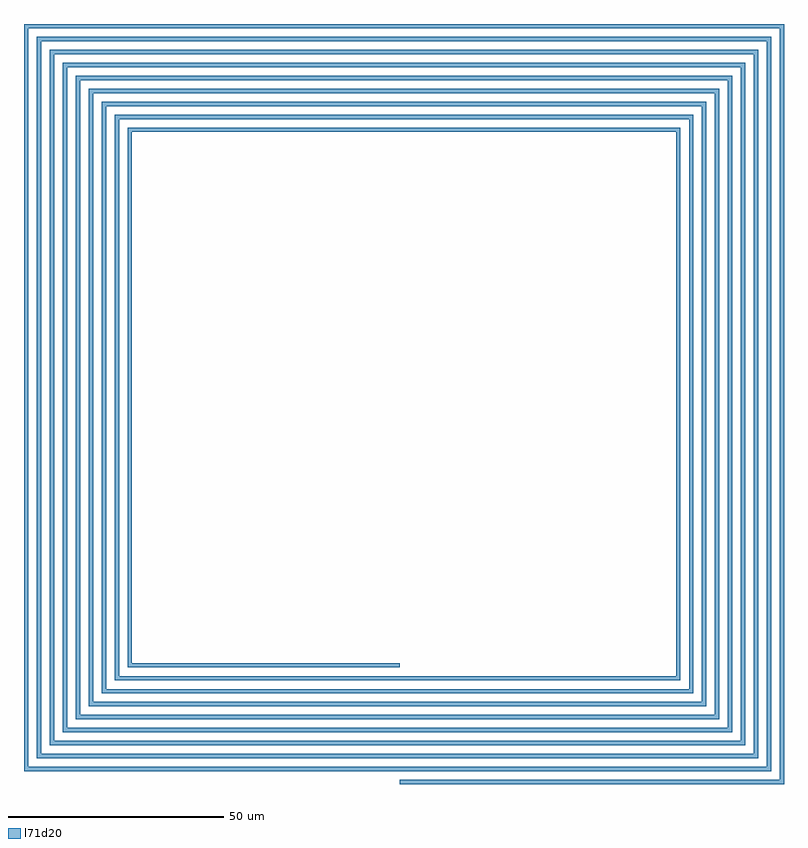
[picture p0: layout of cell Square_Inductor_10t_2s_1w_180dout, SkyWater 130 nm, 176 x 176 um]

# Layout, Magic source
magic
tech sky130a
<< l71d20 >>
rect -130 140 -30 12410
rect 65 12410 12370 12510
rect 12570 5 12670 12350
rect -130 -290 12670 -190
rect -430 745 -330 12510
rect -430 12710 12675 12810
rect 12870 -290 12970 12650
rect -430 -590 12670 -490
rect -730 -290 -630 12810
rect -430 13010 12970 13110
rect -1030 -590 -930 13110
rect -1330 -890 -1230 13410
rect -1630 -1190 -1530 13710
rect -1930 -1490 -1830 14010
rect -2230 -1790 -2130 14310
rect -2530 -2090 -2430 14610
rect -430 13010 12670 13110
rect 13170 -290 13270 12810
rect -731 -890 12370 -790
rect 6170 -2690 14470 -2590
rect 13570 13610 13770 13710
rect 13770 13410 13870 13710
rect 14070 13710 14170 14010
rect 13870 13910 14070 14010
rect 14370 14010 14470 14310
rect 14170 14210 14370 14310
rect 14670 14310 14770 14610
rect 14470 14510 14670 14610
rect 14970 14610 15070 14910
rect 14770 14810 14970 14910
rect 12370 12410 12570 12510
rect 12570 12350 12670 12510
rect 13170 12805 13270 13010
rect 12970 13010 13270 13110
rect 12675 12710 12925 12810
rect 12870 12650 12970 12810
rect 13270 13310 13470 13410
rect 13470 13110 13570 13410
rect 13570 13610 13770 13710
rect 13770 13410 13870 13710
rect -1230 13610 -1030 13710
rect -1330 13410 -1230 13710
rect -1230 13610 -1030 13710
rect -1330 13410 -1230 13710
rect -1630 13710 -1530 14010
rect -1530 13910 -1330 14010
rect -1930 14010 -1830 14310
rect -1830 14210 -1630 14310
rect -2230 14310 -2130 14610
rect -2130 14510 -1930 14610
rect -2530 14610 -2430 14910
rect -2430 14810 -2230 14910
rect -430 12510 -330 12710
rect -730 12810 -630 13010
rect -730 13010 -430 13110
rect -130 12410 65 12510
rect -930 13310 -730 13410
rect -1030 13110 -930 13410
rect -1930 -1790 -1830 -1490
rect -1830 -1790 -1630 -1690
rect -2230 -2090 -2130 -1790
rect -2130 -2090 -1930 -1990
rect -2530 -2390 -2430 -2090
rect -2430 -2390 -2230 -2290
rect -630 -590 -430 -490
rect -730 -590 -630 -290
rect -130 10 -30 140
rect -30 10 165 110
rect -330 -290 -130 -190
rect -430 -290 -330 -135
rect -430 -135 -330 745
rect 165 10 6170 110
rect -930 -890 -730 -790
rect -1030 -890 -930 -590
rect -1230 -1190 -1030 -1090
rect -1330 -1190 -1230 -890
rect -1230 -1190 -1030 -1090
rect -1330 -1190 -1230 -890
rect -1630 -1490 -1530 -1190
rect -1530 -1490 -1330 -1390
rect 14670 -2390 14770 -2090
rect 14170 -2090 14370 -1990
rect 14370 -2090 14470 -1790
rect 13870 -1790 14070 -1690
rect 14070 -1790 14170 -1490
rect 13570 -1490 13770 -1390
rect 13770 -1490 13870 -1190
rect 13470 -1190 13570 -890
rect 13270 -1190 13470 -1090
rect 13470 -1190 13570 -890
rect 13270 -1190 13470 -1090
rect 13170 -890 13270 -590
rect 12970 -890 13170 -790
rect 12670 -590 12970 -490
rect 12570 -190 12670 5
rect 13170 -590 13270 -290
rect 12870 -490 12970 -290
rect 12370 -890 12970 -790
rect 12970 -1190 13270 -1090
rect 13270 -1490 13570 -1390
rect 13570 -1790 13870 -1690
rect 13870 -2090 14170 -1990
rect 14170 -2390 14470 -2290
rect 14770 -2690 14970 -2590
rect 14970 -2690 15070 -2390
rect 14470 -2690 14770 -2590
rect 14470 -2390 14670 -2290
rect -730 13310 13270 13410
rect -1030 13610 13570 13710
rect -1330 13910 13870 14010
rect -1630 14210 14170 14310
rect -1930 14510 14470 14610
rect -2230 14810 14770 14910
rect -2230 14810 14770 14910
rect -1930 14510 14470 14610
rect -1630 14210 14170 14310
rect -1330 13910 13870 14010
rect -1030 13610 13570 13710
rect -730 13310 13270 13410
rect 14970 -2390 15070 14610
rect 14670 -2090 14770 14310
rect 14370 -1790 14470 14010
rect 14070 -1490 14170 13710
rect 13770 -1190 13870 13410
rect 13470 -890 13570 13110
rect -1031 -1190 12970 -1090
rect -1331 -1490 13270 -1390
rect -1631 -1790 13570 -1690
rect -1931 -2090 13870 -1990
rect -2231 -2390 14170 -2290
<< end >>
